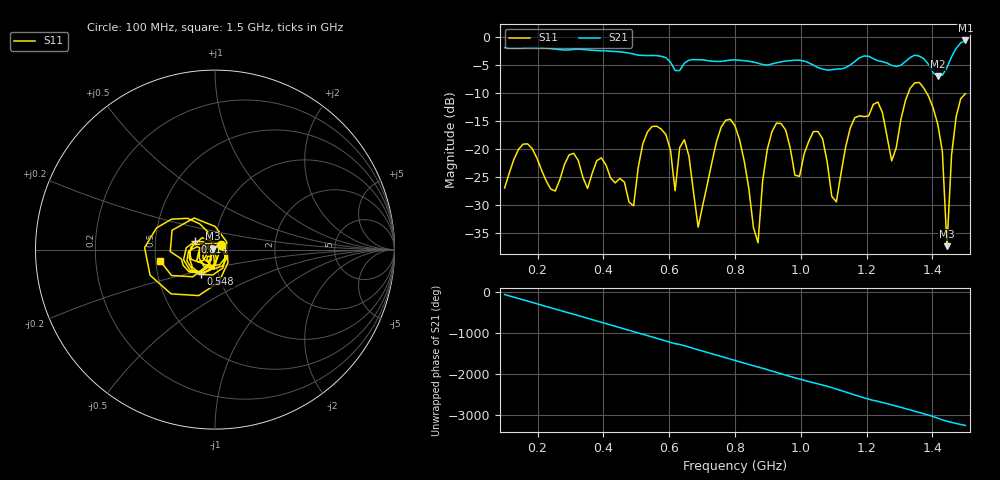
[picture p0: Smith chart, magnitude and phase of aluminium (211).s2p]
! NanoVNA-App
! Date: 2025-09-25 14:56:55
! Start: 100MHz Stop: 1,5GHz Points: 101
! S-Parameter data: F S11 S21 S12 S22
# Hz S RI R 50
!  Frequency  S11_Real  S11_Imag  S21_Real  S21_Imag  S12_Real  S12_Imag  S22_Real  S22_Imag
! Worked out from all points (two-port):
!   101 points, 100 MHz to 1.5 GHz, reference 50 ohm
!   highest |S21| = -0.63 dB at 1.5 GHz (marker M1); lowest = -7.0 dB at 1.416 GHz (marker M2)
!   |S21| within 3 dB of the highest: start of sweep to 586.4 MHz; 1.457 GHz to end of sweep (the widest 2 of 4)
!   lowest |S11| = -37.4 dB at 1.444 GHz (marker M3), VSWR 1.03, Z = 48.8 + j0.489 ohm
!   |S11| at or under -10 dB: start of sweep to 1.327 GHz; 1.382 GHz to end of sweep
!   S12 and S22 are empty: the file has one direction only
!   S11 on the Smith chart (normalised r, x): 100 MHz: 1.07, +0.06; 548 MHz: 0.82, -0.23; 814 MHz: 0.80, +0.07; 1.5 GHz: 0.53, -0.07
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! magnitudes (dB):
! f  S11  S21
! 100 MHz  -27.0  -1.9
! 338 MHz  -25.1  -2.2
! 492 MHz  -30.1  -3.1
! 548 MHz  -16.0  -3.3
! 576 MHz  -16.5  -3.5
! 618 MHz  -27.5  -6.0
! 646 MHz  -18.4  -4.7
! 688 MHz  -33.9  -4.1
! 800 MHz  -15.9  -4.1
! 814 MHz  -18.4  -4.2
! 870 MHz  -36.8  -4.7
! 912 MHz  -17.0  -4.8
! 996 MHz  -24.9  -4.2
! 1.038 GHz  -16.9  -5.0
! 1.108 GHz  -29.4  -5.7
! 1.164 GHz  -14.4  -4.4
! 1.276 GHz  -22.1  -5.1
! 1.346 GHz  -8.2  -3.2
! 1.416 GHz  -15.6  -7.0
! 1.444 GHz  -37.4  -5.5
! 1.472 GHz  -14.2  -2.0
! 1.5 GHz  -10.1  -0.6
